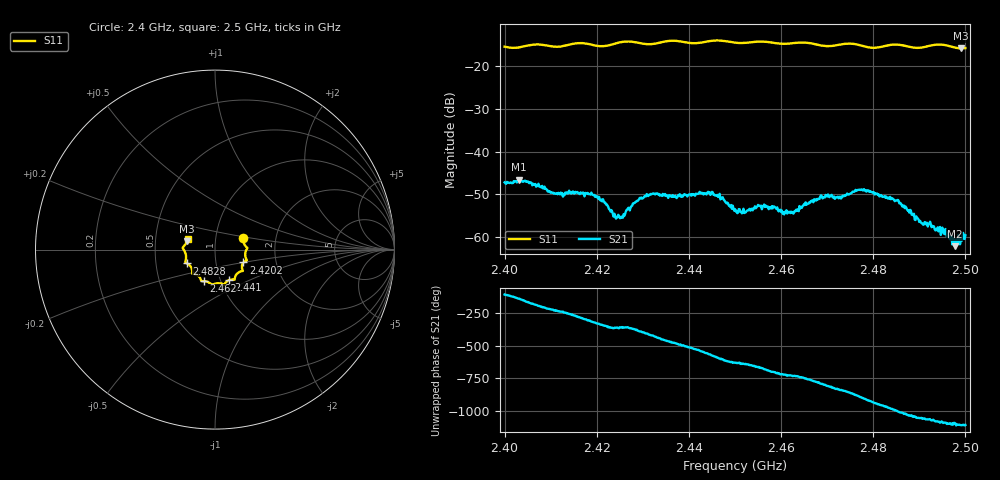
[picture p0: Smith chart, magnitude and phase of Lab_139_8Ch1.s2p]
# Hz S RI R 50
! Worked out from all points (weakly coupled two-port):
!   601 points, 2.4 GHz to 2.5 GHz, reference 50 ohm
!   highest |S21| = -46.55 dB at 2.4032 GHz (marker M1); lowest = -62.2 dB at 2.4977 GHz (marker M2)
!   lowest |S11| = -15.8 dB at 2.499 GHz (marker M3), VSWR 1.39, Z = 36.4 + j3.49 ohm
!   |S11| at or under -10 dB: start of sweep to end of sweep
!   S12 and S22 are empty: the file has one direction only
!   S11 on the Smith chart (normalised r, x): 2.4 GHz: 1.36, +0.18; 2.4202 GHz: 1.36, -0.20; 2.441 GHz: 1.10, -0.39; 2.462 GHz: 0.84, -0.30; 2.4828 GHz: 0.72, -0.11; 2.5 GHz: 0.73, +0.09
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2.4e9  0.1583 0.0628  -0.00116 -0.0042  0 0  0 0
2.403167e9  0.1651 0.0269  -0.00343 -0.00322  0 0  0 0
2.411e9  0.1691 -0.0166  -0.00229 0.00227  0 0  0 0
2.416667e9  0.1775 -0.0606  0.000967 0.00312  0 0  0 0
2.420167e9  0.1586 -0.0714  0.00255 0.00153  0 0  0 0
2.424667e9  0.1532 -0.1115  0.00181 -9.91e-05  0 0  0 0
2.429167e9  0.1441 -0.1212  0.00245 -0.00126  0 0  0 0
2.433333e9  0.1121 -0.1509  0.000658 -0.00307  0 0  0 0
2.441e9  0.0784 -0.1698  -0.00304 -0.000908  0 0  0 0
2.444667e9  0.0533 -0.1914  -0.00278 0.00138  0 0  0 0
2.45e9  0.0285 -0.1878  -1.51e-05 0.00212  0 0  0 0
2.456667e9  -0.0187 -0.1936  0.00186 0.00141  0 0  0 0
2.462e9  -0.0603 -0.1757  0.00189 -0.000219  0 0  0 0
2.466667e9  -0.0787 -0.1682  0.00185 -0.0019  0 0  0 0
2.477e9  -0.1271 -0.1243  -0.00354 -0.00058  0 0  0 0
2.482833e9  -0.1572 -0.0768  -0.00117 0.00273  0 0  0 0
2.483333e9  -0.1604 -0.0754  -0.000703 0.0028  0 0  0 0
2.4905e9  -0.1654 -0.0173  0.00131 0.000621  0 0  0 0
2.495333e9  -0.178 0.0139  0.00107 -0.000214  0 0  0 0
2.497667e9  -0.1638 0.0303  0.00076 -0.000167  0 0  0 0
2.499e9  -0.1554 0.0466  0.000802 -0.000462  0 0  0 0
2.5e9  -0.1523 0.0608  0.000914 -0.000503  0 0  0 0
